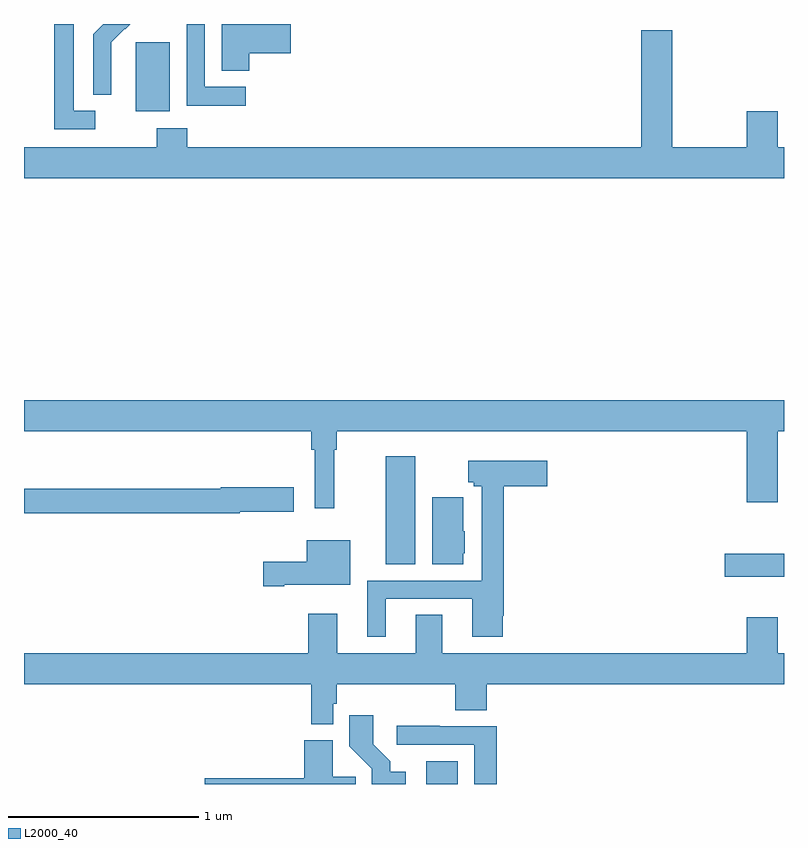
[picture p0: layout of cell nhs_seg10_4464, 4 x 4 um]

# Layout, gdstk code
import gdstk
lib = gdstk.Library(unit=1e-6, precision=1e-09)
def R(c, l, rs):  # rectangles x0, y0, x1, y1
    for r in rs: c.add(gdstk.rectangle(r[:2], r[2:], *l))
def P(c, l, *ps):  # polygons
    for p in ps: c.add(gdstk.Polygon(p, *l))
L2000_40 = (2000, 40)

nhs_seg10_4464 = lib.new_cell('nhs_seg10_4464')
R(nhs_seg10_4464, L2000_40, [(367.118,1258.5,367.282,1258.621), (368.688,1259.591,369,1259.713), (366.905,1259.656,367.06,1260.226), (365.588,1262.042,365.767,1262.403)])
P(nhs_seg10_4464, L2000_40, [(365.374,1262.043),(365.263,1262.043),(365.263,1262.5),(365.159,1262.5),(365.159,1261.947),(365.374,1261.947)],
  [(366.185,1262.345),(366.403,1262.345),(366.403,1262.5),(366.041,1262.5),(366.041,1262.254),(366.185,1262.254)],
  [(366.166,1262.169),(365.952,1262.169),(365.952,1262.5),(365.856,1262.5),(365.856,1262.071),(366.166,1262.071)],
  [(365.46,1262.282),(365.459,1262.282),(365.459,1262.405),(365.529,1262.475),(365.532,1262.472),(365.56,1262.5),(365.418,1262.5),(365.364,1262.446),(365.364,1262.128),(365.46,1262.128)],
  [(369,1261.852),(368.968,1261.852),(368.968,1262.041),(368.804,1262.041),(368.804,1261.852),(368.413,1261.852),(368.413,1262.467),(368.249,1262.467),(368.249,1261.852),(365.858,1261.852),(365.858,1261.951),(365.698,1261.951),(365.698,1261.852),(365,1261.852),(365,1261.688),(369,1261.688)],
  [(366.632,1260.26),(366.647,1260.26),(366.647,1260.356),(368.804,1260.356),(368.804,1259.982),(368.968,1259.982),(368.968,1260.356),(369,1260.356),(369,1260.52),(365,1260.52),(365,1260.356),(366.511,1260.356),(366.511,1260.26),(366.531,1260.26),(366.531,1259.952),(366.632,1259.952)],
  [(366.904,1259.475),(367.358,1259.475),(367.358,1259.274),(367.52,1259.274),(367.52,1259.386),(367.526,1259.386),(367.526,1260.068),(367.753,1260.068),(367.753,1260.202),(367.337,1260.202),(367.337,1260.089),(367.368,1260.089),(367.368,1260.067),(367.41,1260.067),(367.41,1259.571),(366.806,1259.571),(366.806,1259.274),(366.904,1259.274)],
  [(366.136,1259.933),(366.421,1259.933),(366.421,1260.063),(366.036,1260.063),(366.036,1260.055),(365,1260.055),(365,1259.926),(366.136,1259.926)],
  [(367.312,1259.715),(367.321,1259.715),(367.321,1259.829),(367.311,1259.829),(367.311,1260.01),(367.148,1260.01),(367.148,1259.656),(367.312,1259.656)],
  [(366.37,1259.549),(366.718,1259.549),(366.718,1259.782),(366.488,1259.782),(366.488,1259.671),(366.258,1259.671),(366.258,1259.542),(366.37,1259.542)],
  [(366.627,1258.923),(366.647,1258.923),(366.647,1259.024),(367.271,1259.024),(367.271,1258.888),(367.436,1258.888),(367.436,1259.024),(369,1259.024),(369,1259.188),(368.968,1259.188),(368.968,1259.377),(368.804,1259.377),(368.804,1259.188),(367.201,1259.188),(367.201,1259.39),(367.061,1259.39),(367.061,1259.188),(366.649,1259.188),(366.649,1259.395),(366.497,1259.395),(366.497,1259.188),(365,1259.188),(365,1259.024),(366.511,1259.024),(366.511,1258.814),(366.627,1258.814)],
  [(367.009,1258.564),(366.928,1258.564),(366.928,1258.619),(366.838,1258.709),(366.838,1258.861),(366.712,1258.861),(366.712,1258.698),(366.831,1258.579),(366.831,1258.5),(367.009,1258.5)],
  [(367.487,1258.803),(367.187,1258.803),(367.187,1258.806),(366.963,1258.806),(366.963,1258.707),(367.371,1258.707),(367.371,1258.5),(367.487,1258.5)],
  [(366.746,1258.538),(366.625,1258.538),(366.625,1258.729),(366.476,1258.729),(366.476,1258.529),(365.951,1258.529),(365.951,1258.5),(366.746,1258.5)])

lib.write_gds('nhs_seg10_4464.gds')
